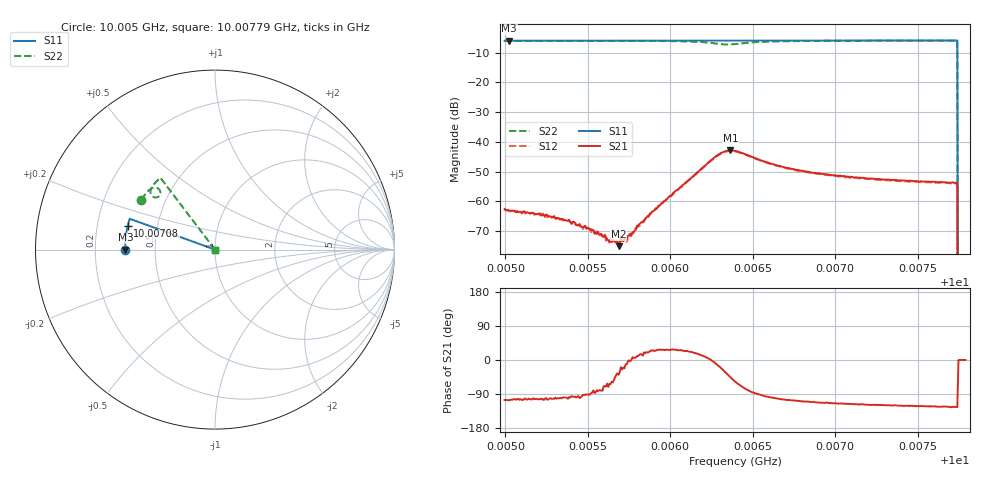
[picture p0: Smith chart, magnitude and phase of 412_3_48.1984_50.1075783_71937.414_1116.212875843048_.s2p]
#  HZ  S  RI  R  50.00
! Rohde & Schwarz Vector Network Analyzer
! Rohde-Schwarz,ZNB20-2Port,1311601062101988,3.16
! Created: UTC 3/20/2024, 11:54:34 AM
! freq[Hz]  re:S11  im:S11  re:S21  im:S21  re:S12  im:S12  re:S22  im:S22
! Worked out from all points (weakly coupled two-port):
!   401 points, 10.005 GHz to 10.00779 GHz, reference 50 ohm
!   highest |S21| = -42.83 dB at 10.00636 GHz (marker M1); lowest = -75.0 dB at 10.00569 GHz (marker M2)
!   lowest |S11| = -6.0 dB at 10.00502 GHz (marker M3), VSWR 3.00, Z = 16.7 - j0.0399 ohm
!   |S11| at or under -10 dB: 10.00774 GHz to end of sweep
!   |S22| runs from - to -6.0 dB; largest |S21 - S12| = 0.00041
!   S11 on the Smith chart (normalised r, x): 10.005 GHz: 0.33, -0.00; 10.00708 GHz: 0.33, +0.12; 10.00779 GHz: 1.00, +0.00
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1.0004995e10  -0.4997 -0.00281  -0.000199 -0.000717  -0.00015 -0.00072  -0.4096 0.277
1.0005023e10  -0.4996 -0.000898  -0.000191 -0.000675  -0.000122 -0.000679  -0.4085 0.2789
1.0005198e10  -0.5 0.0106  -0.000148 -0.000602  -0.000127 -0.000607  -0.402 0.289
1.0005373e10  -0.5 0.0218  -7.84e-05 -0.000466  -4.89e-05 -0.000488  -0.3949 0.2996
1.0005463e10  -0.4997 0.0279  -3.73e-05 -0.000368  -3.72e-05 -0.000389  -0.3909 0.3048
1.0005498e10  -0.4998 0.03  -1.89e-06 -0.000363  -6.28e-06 -0.000361  -0.3894 0.3071
1.0005596e10  -0.4996 0.0363  9.2e-05 -0.000238  8.22e-05 -0.000245  -0.3848 0.3129
1.0005631e10  -0.4994 0.0386  9.34e-05 -0.000182  0.000113 -0.000178  -0.383 0.3151
1.0005687e10  -0.4993 0.0422  0.000138 -0.000112  0.000148 -0.000108  -0.3799 0.3186
1.000575e10  -0.499 0.0462  0.000271 -4.21e-06  0.000264 5.07e-06  -0.3763 0.3225
1.0005932e10  -0.4981 0.058  0.000744 0.000392  0.000747 0.000428  -0.3636 0.3344
1.0006267e10  -0.4954 0.0797  0.00542 -0.00059  0.00536 -0.000337  -0.3081 0.3312
1.0006316e10  -0.4948 0.0826  0.00607 -0.00275  0.00606 -0.00243  -0.3048 0.3115
1.0006365e10  -0.4944 0.0854  0.00504 -0.00517  0.00517 -0.00478  -0.3175 0.2938
1.0006393e10  -0.4943 0.087  0.00387 -0.00592  0.00409 -0.00558  -0.329 0.2902
1.0006644e10  -0.4921 0.1033  -0.000792 -0.004  -0.000584 -0.00393  -0.3584 0.3308
1.0006861e10  -0.4895 0.1169  -0.00108 -0.00284  -0.00095 -0.00282  -0.3489 0.3521
1.0007077e10  -0.4866 0.1306  -0.00115 -0.00235  -0.00102 -0.00235  -0.338 0.3667
1.0007329e10  -0.4827 0.1465  -0.00113 -0.00202  -0.00104 -0.00202  -0.3254 0.3807
1.0007727e10  -0.4753 0.1709  -0.00114 -0.00172  -0.00107 -0.00168  -0.3051 0.3997
1.0007762e10  0 0  0 0  0 0  0 0
1.000779e10  0 0  0 0  0 0  0 0
